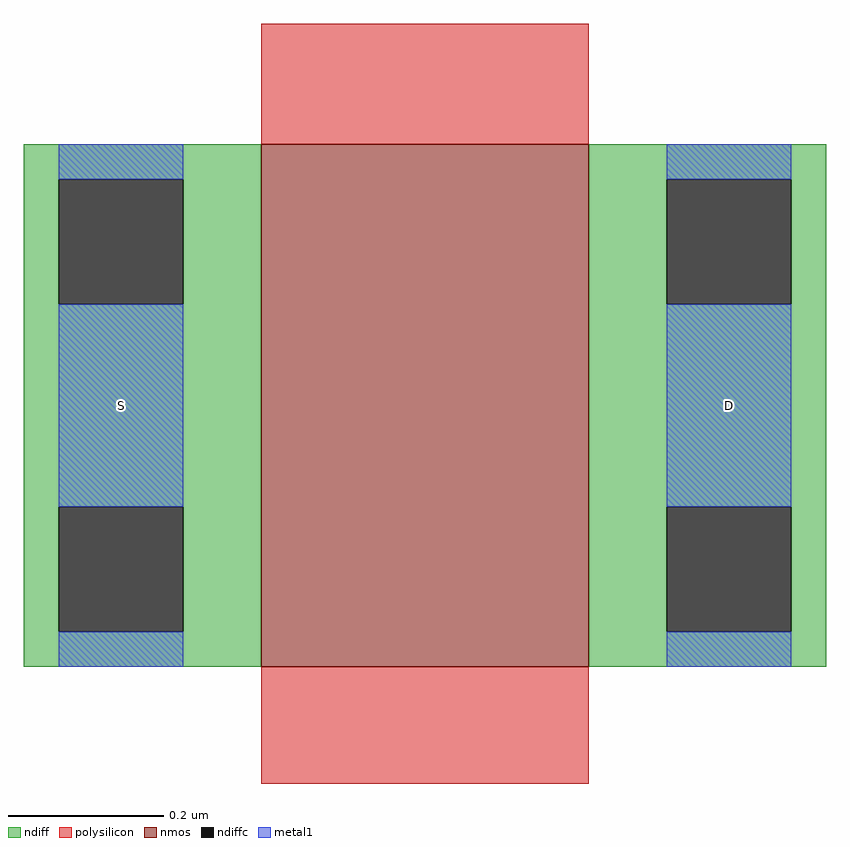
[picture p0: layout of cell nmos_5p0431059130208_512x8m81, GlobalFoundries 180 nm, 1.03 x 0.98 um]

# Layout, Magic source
magic
tech gf180mcuD
magscale 1 10
<< nmos >>
rect 0 0 84 134
<< ndiff >>
rect -61 125 0 134
rect -61 93 -52 125
rect -20 93 0 125
rect -61 41 0 93
rect -61 9 -52 41
rect -20 9 0 41
rect -61 0 0 9
rect 84 125 145 134
rect 84 93 104 125
rect 136 93 145 125
rect 84 41 145 93
rect 84 9 104 41
rect 136 9 145 41
rect 84 0 145 9
<< ndiffc >>
rect -52 93 -20 125
rect -52 9 -20 41
rect 104 93 136 125
rect 104 9 136 41
<< polysilicon >>
rect 0 134 84 165
rect 0 -30 84 0
<< metal1 >>
rect -52 125 -20 134
rect -52 41 -20 93
rect -52 0 -20 9
rect 104 125 136 134
rect 104 41 136 93
rect 104 0 136 9
<< labels >>
flabel metal1 -36 67 -36 67 0 FreeSans 140 0 0 0 S
flabel metal1 120 67 120 67 0 FreeSans 140 0 0 0 D
<< end >>
